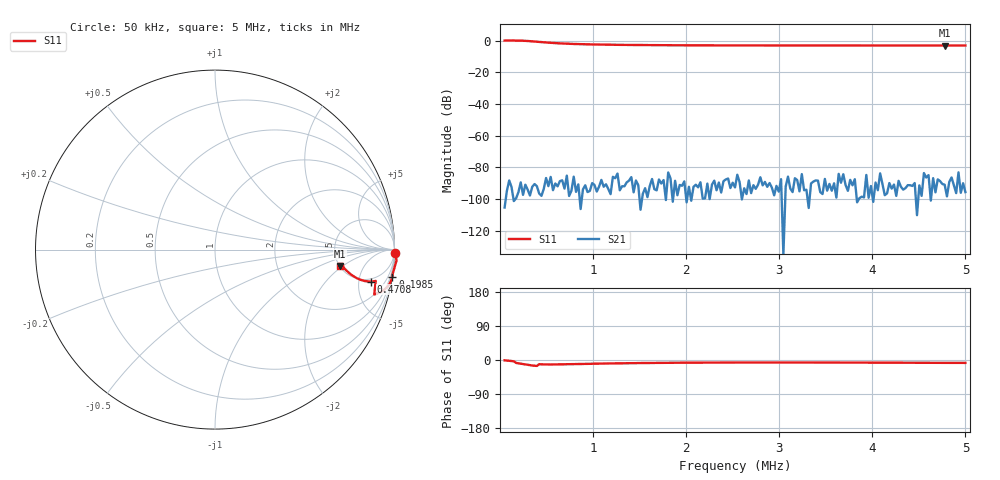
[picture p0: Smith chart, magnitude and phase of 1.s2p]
! NanoVNA-App by OneOfEleven et al v1.1.209 (+OD15)
! Date: 2024-07-30 12:37:08
! Start: 50kHz Stop: 5MHz Points: 201
! S-Parameter data: F S11 S21 S12 S22
# Hz S RI R 50
!  Frequency  S11_Real  S11_Imag  S21_Real  S21_Imag  S12_Real  S12_Imag  S22_Real  S22_Imag
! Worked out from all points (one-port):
!   201 points, 50 kHz to 5 MHz, reference 50 ohm
!   lowest |S11| = -3.1 dB at 4.777 MHz (marker M1), VSWR 5.69, Z = 251 - j90.4 ohm
!   |S11| at or under -10 dB: nowhere
!   S11 on the Smith chart (normalised r, x): 50 kHz: open; 198.5 kHz: 0, -13; 470.8 kHz: 4.38, -7.25; 5 MHz: 4.99, -1.85
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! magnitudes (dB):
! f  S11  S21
! 50 kHz  0.0  -105.5
! 74.75 kHz  0.0  -94.8
! 149 kHz  0.1  -101.4
! 173.8 kHz  0.0  -99.6
! 198.5 kHz  0.0  -95.8
! 248 kHz  -0.1  -97.5
! 297.5 kHz  -0.2  -94.1
! 470.8 kHz  -1.1  -93.7
! 569.8 kHz  -1.5  -94.5
! 668.8 kHz  -1.8  -88.2
! 792.5 kHz  -2.1  -86.0
! 891.5 kHz  -2.3  -94.0
! 1.015 MHz  -2.4  -91.2
! 1.238 MHz  -2.6  -87.0
! 1.461 MHz  -2.8  -88.4
! 1.708 MHz  -2.9  -87.7
! 2.079 MHz  -3.0  -92.4
! 2.525 MHz  -3.0  -92.8
! 3.366 MHz  -3.1  -89.1
! 4.183 MHz  -3.1  -90.0
! 4.777 MHz  -3.1  -91.1
! 5 MHz  -3.1  -95.7
